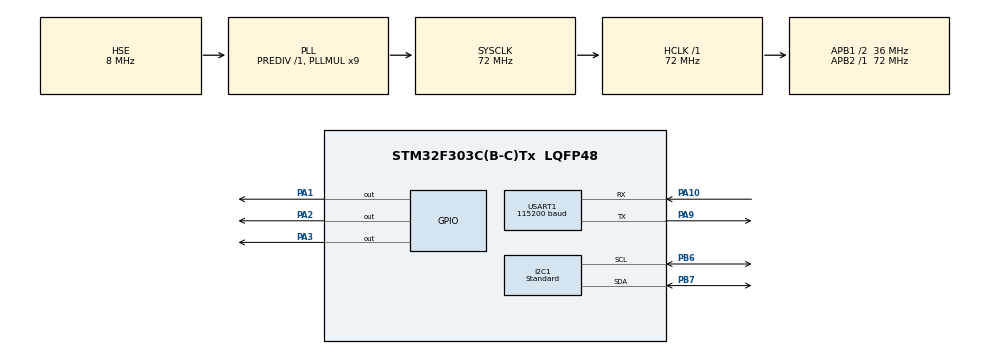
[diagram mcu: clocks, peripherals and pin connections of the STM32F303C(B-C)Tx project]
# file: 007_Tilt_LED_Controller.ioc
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I2C1.I2C_Speed_Mode=I2C_Standard
I2C1.Timing=0x00201D2B
Mcu.Family=STM32F3
Mcu.Name=STM32F303C(B-C)Tx
Mcu.Package=LQFP48
NVIC.PriorityGroup=NVIC_PRIORITYGROUP_4
PA1.Signal=GPIO_Output
PA10.Mode=Asynchronous
PA10.Signal=USART1_RX
PA13.Mode=Trace_Asynchronous_SW
PA13.Signal=SYS_JTMS-SWDIO
PA14.Mode=Trace_Asynchronous_SW
PA14.Signal=SYS_JTCK-SWCLK
PA2.Signal=GPIO_Output
PA3.Signal=GPIO_Output
PA9.Mode=Asynchronous
PA9.Signal=USART1_TX
PB3.Mode=Trace_Asynchronous_SW
PB3.Signal=SYS_JTDO-TRACESWO
PB6.Mode=I2C
PB6.Signal=I2C1_SCL
PB7.Mode=I2C
PB7.Signal=I2C1_SDA
PF0-OSC_IN.Mode=HSE-External-Oscillator
PF0-OSC_IN.Signal=RCC_OSC_IN
PF1-OSC_OUT.Mode=HSE-External-Oscillator
PF1-OSC_OUT.Signal=RCC_OSC_OUT
ProjectManager.HeapSize=0x200
ProjectManager.StackSize=0x400
ProjectManager.TargetToolchain=STM32CubeIDE
RCC.AHBFreq_Value=72000000
RCC.APB1CLKDivider=RCC_HCLK_DIV2
RCC.APB1Freq_Value=36000000
RCC.APB1TimFreq_Value=72000000
RCC.APB2Freq_Value=72000000
RCC.APB2TimFreq_Value=72000000
RCC.CortexFreq_Value=72000000
RCC.HCLKFreq_Value=72000000
RCC.HSE_VALUE=8000000
RCC.HSI_VALUE=8000000
RCC.LSE_VALUE=32768
RCC.PLLMUL=RCC_PLL_MUL9
RCC.PLLSourceVirtual=RCC_PLLSOURCE_HSE
RCC.SYSCLKFreq_VALUE=72000000
RCC.SYSCLKSourceVirtual=RCC_SYSCLKSOURCE_PLLCLK
RCC.USBFreq_Value=72000000
USART1.BaudRate=115200
USART1.VirtualMode-Asynchronous=VM_ASYNC
board=custom

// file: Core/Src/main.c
/* USER CODE BEGIN Header */
/**
  ******************************************************************************
  * @file           : main.c
  * @brief          : Main program body
  ******************************************************************************
  * @attention
  *
  * Copyright (c) 2024 STMicroelectronics.
  * All rights reserved.
  *
  * This software is licensed under terms that can be found in the LICENSE file
  * in the root directory of this software component.
  * If no LICENSE file comes with this software, it is provided AS-IS.
  *
  ******************************************************************************
  */
/* USER CODE END Header */
#include "main.h"

/* USER CODE BEGIN Includes */
#include <stdio.h>
#include <math.h>
#ifdef IMU_MPU6050
#include "mpu6050.h"
#endif
#ifdef IMU_BMI270
#include "bmi270.h"
#endif
#include "led.h"
/* USER CODE END Includes */

I2C_HandleTypeDef hi2c1;

UART_HandleTypeDef huart1;

/* USER CODE BEGIN PV */
double degreex, degreey;
/* USER CODE END PV */

void SystemClock_Config(void);
static void MX_GPIO_Init(void);
static void MX_I2C1_Init(void);
static void MX_USART1_UART_Init(void);

int main(void)
{

  /* MCU Configuration--------------------------------------------------------*/

  /* Reset of all peripherals, Initializes the Flash interface and the Systick. */
  HAL_Init();

  /* Configure the system clock */
  SystemClock_Config();

  /* Initialize all configured peripherals */
  MX_GPIO_Init();
  MX_I2C1_Init();
  MX_USART1_UART_Init();
  /* USER CODE BEGIN 2 */
  /* Initialize the onboard IMU sensor */
#ifdef IMU_MPU6050
  mpu6050_init();
#endif
#ifdef IMU_BMI270
  bmi270_init();
#endif
  /* USER CODE END 2 */

  /* Infinite loop */
  while (1)
  {

    /* USER CODE BEGIN 3 */
    /* Check angle conditions to turn on/off LEDs based on sensor readings */
    led_indicate();
  }
  /* USER CODE END 3 */
}

void SystemClock_Config(void)
{
  RCC_OscInitTypeDef RCC_OscInitStruct = {0};
  RCC_ClkInitTypeDef RCC_ClkInitStruct = {0};
  RCC_PeriphCLKInitTypeDef PeriphClkInit = {0};

  /** Initializes the RCC Oscillators according to the specified parameters
  * in the RCC_OscInitTypeDef structure.
  */
  RCC_OscInitStruct.OscillatorType = RCC_OSCILLATORTYPE_HSI|RCC_OSCILLATORTYPE_HSE;
  RCC_OscInitStruct.HSEState = RCC_HSE_ON;
  RCC_OscInitStruct.HSEPredivValue = RCC_HSE_PREDIV_DIV1;
  RCC_OscInitStruct.HSIState = RCC_HSI_ON;
  RCC_OscInitStruct.HSICalibrationValue = RCC_HSICALIBRATION_DEFAULT;
  RCC_OscInitStruct.PLL.PLLState = RCC_PLL_ON;
  RCC_OscInitStruct.PLL.PLLSource = RCC_PLLSOURCE_HSE;
  RCC_OscInitStruct.PLL.PLLMUL = RCC_PLL_MUL9;
  if (HAL_RCC_OscConfig(&RCC_OscInitStruct) != HAL_OK)
  {
    Error_Handler();
  }

  /** Initializes the CPU, AHB and APB buses clocks
  */
  RCC_ClkInitStruct.ClockType = RCC_CLOCKTYPE_HCLK|RCC_CLOCKTYPE_SYSCLK
                              |RCC_CLOCKTYPE_PCLK1|RCC_CLOCKTYPE_PCLK2;
  RCC_ClkInitStruct.SYSCLKSource = RCC_SYSCLKSOURCE_PLLCLK;
  RCC_ClkInitStruct.AHBCLKDivider = RCC_SYSCLK_DIV1;
  RCC_ClkInitStruct.APB1CLKDivider = RCC_HCLK_DIV2;
  RCC_ClkInitStruct.APB2CLKDivider = RCC_HCLK_DIV1;

  if (HAL_RCC_ClockConfig(&RCC_ClkInitStruct, FLASH_LATENCY_2) != HAL_OK)
  {
    Error_Handler();
  }
  PeriphClkInit.PeriphClockSelection = RCC_PERIPHCLK_USART1|RCC_PERIPHCLK_I2C1;
  PeriphClkInit.Usart1ClockSelection = RCC_USART1CLKSOURCE_PCLK2;
  PeriphClkInit.I2c1ClockSelection = RCC_I2C1CLKSOURCE_HSI;
  if (HAL_RCCEx_PeriphCLKConfig(&PeriphClkInit) != HAL_OK)
  {
    Error_Handler();
  }
}

static void MX_I2C1_Init(void)
{

  hi2c1.Instance = I2C1;
  hi2c1.Init.Timing = 0x00201D2B;
  hi2c1.Init.OwnAddress1 = 0;
  hi2c1.Init.AddressingMode = I2C_ADDRESSINGMODE_7BIT;
  hi2c1.Init.DualAddressMode = I2C_DUALADDRESS_DISABLE;
  hi2c1.Init.OwnAddress2 = 0;
  hi2c1.Init.OwnAddress2Masks = I2C_OA2_NOMASK;
  hi2c1.Init.GeneralCallMode = I2C_GENERALCALL_DISABLE;
  hi2c1.Init.NoStretchMode = I2C_NOSTRETCH_DISABLE;
  if (HAL_I2C_Init(&hi2c1) != HAL_OK)
  {
    Error_Handler();
  }

  /** Configure Analogue filter
  */
  if (HAL_I2CEx_ConfigAnalogFilter(&hi2c1, I2C_ANALOGFILTER_ENABLE) != HAL_OK)
  {
    Error_Handler();
  }

  /** Configure Digital filter
  */
  if (HAL_I2CEx_ConfigDigitalFilter(&hi2c1, 0) != HAL_OK)
  {
    Error_Handler();
  }

}

static void MX_USART1_UART_Init(void)
{

  huart1.Instance = USART1;
  huart1.Init.BaudRate = 115200;
  huart1.Init.WordLength = UART_WORDLENGTH_8B;
  huart1.Init.StopBits = UART_STOPBITS_1;
  huart1.Init.Parity = UART_PARITY_NONE;
  huart1.Init.Mode = UART_MODE_TX_RX;
  huart1.Init.HwFlowCtl = UART_HWCONTROL_NONE;
  huart1.Init.OverSampling = UART_OVERSAMPLING_16;
  huart1.Init.OneBitSampling = UART_ONE_BIT_SAMPLE_DISABLE;
  huart1.AdvancedInit.AdvFeatureInit = UART_ADVFEATURE_NO_INIT;
  if (HAL_UART_Init(&huart1) != HAL_OK)
  {
    Error_Handler();
  }

}

static void MX_GPIO_Init(void)
{
  GPIO_InitTypeDef GPIO_InitStruct = {0};

  /* GPIO Ports Clock Enable */
  __HAL_RCC_GPIOF_CLK_ENABLE();
  __HAL_RCC_GPIOA_CLK_ENABLE();
  __HAL_RCC_GPIOB_CLK_ENABLE();

  /*Configure GPIO pin Output Level */
  HAL_GPIO_WritePin(GPIOA, GPIO_PIN_1|GPIO_PIN_2|GPIO_PIN_3, GPIO_PIN_RESET);

  /*Configure GPIO pins : PA1 PA2 PA3 */
  GPIO_InitStruct.Pin = GPIO_PIN_1|GPIO_PIN_2|GPIO_PIN_3;
  GPIO_InitStruct.Mode = GPIO_MODE_OUTPUT_PP;
  GPIO_InitStruct.Pull = GPIO_NOPULL;
  GPIO_InitStruct.Speed = GPIO_SPEED_FREQ_LOW;
  HAL_GPIO_Init(GPIOA, &GPIO_InitStruct);

}

void Error_Handler(void)
{
  __disable_irq();
  while (1)
  {
  }
}
